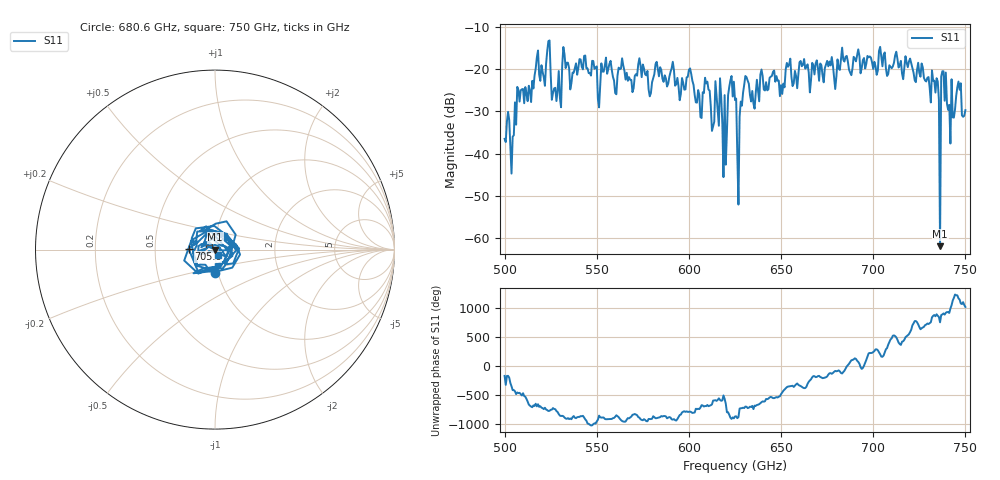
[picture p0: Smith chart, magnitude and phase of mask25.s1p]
!Created with skrf (http://scikit-rf.org).
# GHz S MA R 50.0
!freq magS11 angS11
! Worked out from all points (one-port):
!   401 points, 500 GHz to 750 GHz, reference 50 ohm
!   lowest |S11| = -61.8 dB at 736.2 GHz (marker M1), VSWR 1.00, Z = 50.1 + j0.0428 ohm
!   |S11| at or under -10 dB: start of sweep to end of sweep
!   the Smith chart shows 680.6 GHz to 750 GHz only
!   S11 on the Smith chart (normalised r, x): 680.6 GHz: 0.97, -0.25; 705.6 GHz: 0.74, +0.01; 750 GHz: 1.03, -0.06
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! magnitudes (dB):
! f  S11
! 500 GHz  -36.5
! 503.8 GHz  -44.7
! 508.1 GHz  -27.7
! 517.5 GHz  -17.3
! 523.8 GHz  -13.4
! 526.9 GHz  -24.6
! 531.2 GHz  -19.2
! 562.5 GHz  -20.1
! 593.8 GHz  -22.1
! 610 GHz  -23.0
! 619.4 GHz  -26.2
! 622.5 GHz  -22.7
! 625 GHz  -27.4
! 627.5 GHz  -31.2
! 631.2 GHz  -21.9
! 634.4 GHz  -25.2
! 656.2 GHz  -24.1
! 680.6 GHz  -17.8
! 687.5 GHz  -20.9
! 705.6 GHz  -16.7
! 718.8 GHz  -19.6
! 733.1 GHz  -22.8
! 736.2 GHz  -61.8
! 737.5 GHz  -20.5
! 738.1 GHz  -20.6
! 741.9 GHz  -37.6
! 746.2 GHz  -23.0
! 750 GHz  -29.7
